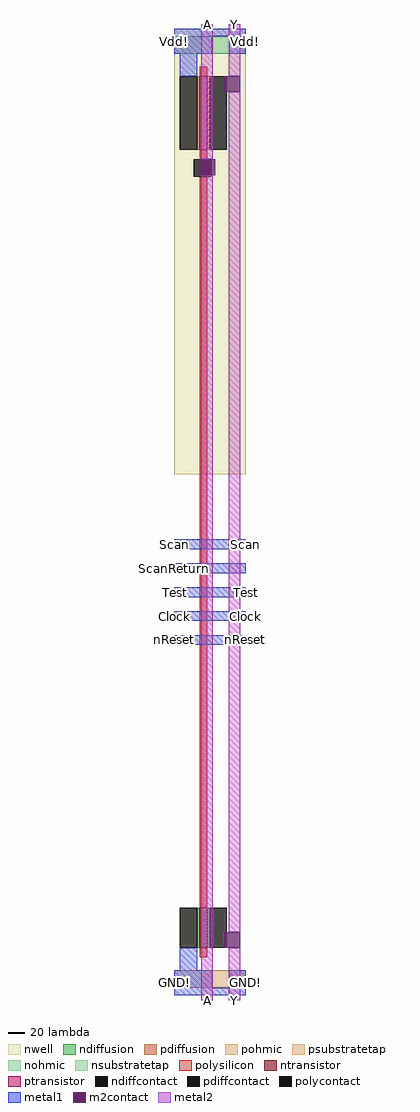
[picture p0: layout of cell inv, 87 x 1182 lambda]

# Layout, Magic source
magic
tech tsmc180
<< nwell >>
rect 0 637 87 1176
<< polysilicon >>
rect 31 1119 40 1130
rect 31 1018 40 1030
rect 31 112 40 997
rect 31 52 40 63
<< ndiffusion >>
rect 28 63 31 112
rect 40 63 43 112
<< pdiffusion >>
rect 28 1030 31 1119
rect 40 1030 43 1119
<< pohmic >>
rect 0 15 46 36
rect 67 15 87 36
<< nohmic >>
rect 0 1146 46 1167
rect 67 1146 87 1167
<< ntransistor >>
rect 31 63 40 112
<< ptransistor >>
rect 31 1030 40 1119
<< polycontact >>
rect 24 997 45 1018
<< ndiffcontact >>
rect 7 63 28 112
rect 43 63 64 112
<< pdiffcontact >>
rect 7 1030 28 1119
rect 43 1030 64 1119
<< psubstratetap >>
rect 46 15 67 36
<< nsubstratetap >>
rect 46 1146 67 1167
<< metal1 >>
rect 0 1167 87 1176
rect 0 1146 46 1167
rect 67 1146 87 1167
rect 7 1119 28 1146
rect 0 546 87 558
rect 0 517 87 529
rect 0 488 87 500
rect 0 459 87 471
rect 0 430 87 442
rect 7 36 28 63
rect 0 15 46 36
rect 67 15 87 36
rect 0 6 87 15
<< m2contact >>
rect 61 1100 64 1119
rect 64 1100 80 1119
rect 31 999 45 1018
rect 45 999 50 1018
rect 61 63 64 82
rect 64 63 80 82
<< metal2 >>
rect 33 1018 47 1182
rect 66 1119 80 1182
rect 33 0 47 999
rect 66 82 80 1100
rect 66 0 80 63
<< labels >>
rlabel metal2 33 0 47 0 1 A
rlabel metal2 66 0 80 0 1 Y
rlabel metal1 0 6 0 36 3 GND!
rlabel metal1 87 6 87 36 7 GND!
rlabel metal1 0 546 0 558 3 Scan
rlabel metal1 0 517 0 529 3 ScanReturn
rlabel metal1 0 488 0 500 3 Test
rlabel metal1 0 459 0 471 3 Clock
rlabel metal1 0 430 0 442 3 nReset
rlabel metal1 87 546 87 558 7 Scan
rlabel metal1 87 517 87 529 7 ScanReturn
rlabel metal1 87 488 87 500 7 Test
rlabel metal1 87 459 87 471 7 Clock
rlabel metal1 87 430 87 442 7 nReset
rlabel metal1 87 1146 87 1176 7 Vdd!
rlabel metal1 0 1146 0 1176 3 Vdd!
rlabel metal2 66 1182 80 1182 5 Y
rlabel metal2 33 1182 47 1182 5 A
<< end >>
